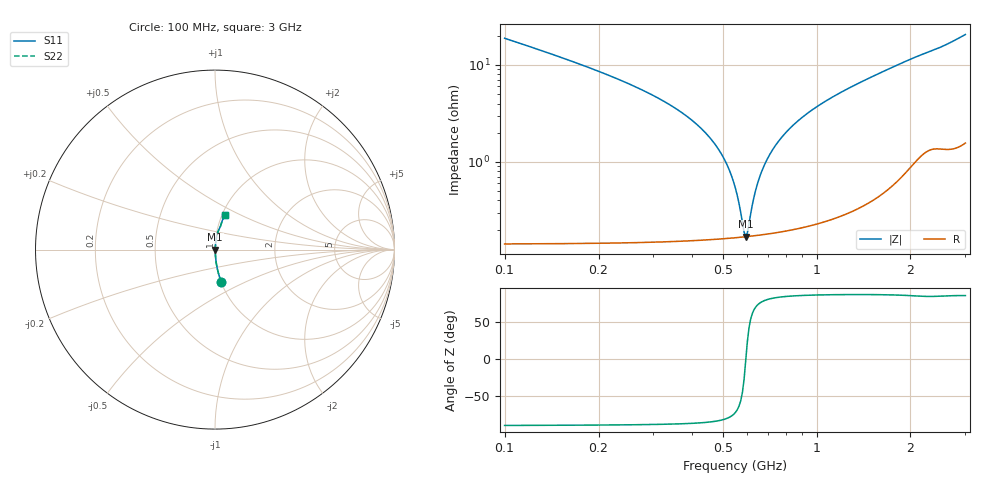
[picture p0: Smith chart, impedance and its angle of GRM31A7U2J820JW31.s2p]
!Murata Part Number: GRM31A7U2J820JW31
!These Parameters are Measured in Series Mode Connection
!Data Generated on Mar 30, 2021
!  o--ll--o
!Port1  Port2
!  o------o
!Operation Temp=25[degC], DC Bias Voltage=0[V]
!Freq. Start=100[MHz] Stop=3[GHz] 401[Steps]
# Hz S RI R 50
!Freq.(Hz) S11(Real) S11(Imag) S21(Real) S21(Imag) S12(Real) S12(Imag) S22(Real) S22(Imag)
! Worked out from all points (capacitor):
!   401 points, 100 MHz to 3 GHz, reference 50 ohm
!   read as one part in series: C = 81.9 pF near 114.5 MHz
!   lowest |Z| = 169 mohm at 593 MHz (marker M1)
!   series resonance near 593.4 MHz, so ESL is about 880 pH
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1e8  0.0356 -0.1817  0.9644 0.1817  0.9644 0.1817  0.0356 -0.1817
2.2325e8  0.00698 -0.0741  0.993 0.0741  0.993 0.0741  0.00698 -0.0741
3.8275e8  0.00241 -0.0296  0.9976 0.0296  0.9976 0.0296  0.00241 -0.0296
4.6975e8  0.00182 -0.0155  0.9982 0.0155  0.9982 0.0155  0.00182 -0.0155
5.06e8  0.00172 -0.0105  0.9983 0.0105  0.9983 0.0105  0.00172 -0.0105
5.35e8  0.00168 -0.00683  0.9983 0.00683  0.9983 0.00683  0.00168 -0.00683
5.5675e8  0.00167 -0.0042  0.9983 0.0042  0.9983 0.0042  0.00167 -0.0042
5.8575e8  0.00168 -0.000856  0.9983 0.000856  0.9983 0.000856  0.00168 -0.000856
5.93e8  0.00169 -4.48e-05  0.9983 4.48e-05  0.9983 4.48e-05  0.00169 -4.48e-05
6.075e8  0.0017 0.00155  0.9983 -0.00155  0.9983 -0.00155  0.0017 0.00155
6.365e8  0.00175 0.00463  0.9982 -0.00463  0.9982 -0.00463  0.00175 0.00463
6.5825e8  0.0018 0.00687  0.9982 -0.00687  0.9982 -0.00687  0.0018 0.00687
6.945e8  0.00191 0.0105  0.9981 -0.0105  0.9981 -0.0105  0.00191 0.0105
7.38e8  0.00206 0.0146  0.9979 -0.0146  0.9979 -0.0146  0.00206 0.0146
7.96e8  0.00232 0.0198  0.9977 -0.0198  0.9977 -0.0198  0.00232 0.0198
8.685e8  0.00272 0.026  0.9973 -0.026  0.9973 -0.026  0.00272 0.026
1.0715e9  0.00422 0.0422  0.9958 -0.0422  0.9958 -0.0422  0.00422 0.0422
1.28175e9  0.00639 0.058  0.9936 -0.058  0.9936 -0.058  0.00639 0.058
1.55e9  0.0103 0.0778  0.9897 -0.0778  0.9897 -0.0778  0.0103 0.0778
2.03575e9  0.0224 0.1135  0.9776 -0.1135  0.9776 -0.1135  0.0224 0.1135
2.5215e9  0.0357 0.1467  0.9643 -0.1467  0.9643 -0.1467  0.0357 0.1467
3e9  0.0543 0.1917  0.9457 -0.1917  0.9457 -0.1917  0.0543 0.1917
